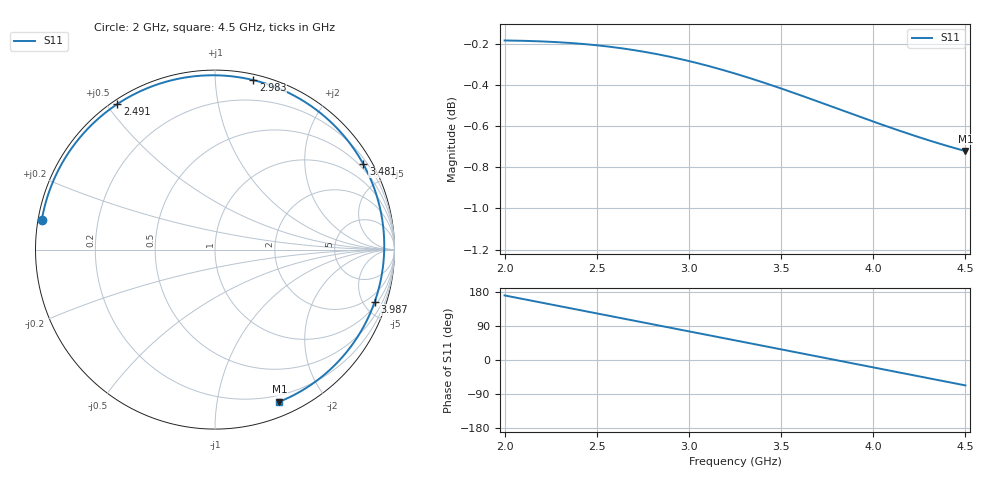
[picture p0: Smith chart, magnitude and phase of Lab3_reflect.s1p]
! Touchstone file from project Lab 3
! Exported from Circuit Design 2017.1.0
! Variables:
!  $thru = 40mm
!  thru = 22mm
!  width = 3.01746mm
!Data is not renormalized
# GHZ S MA
! Modal data exported
! Port[1] = n1
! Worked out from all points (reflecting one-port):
!   2501 points, 2 GHz to 4.5 GHz, reference per port
!   lowest |S11| = -0.7 dB at 4.5 GHz (marker M1), VSWR 24.11
!   phase of S11 starts at 170 deg and turns -237 deg over the sweep
!   S11 on the Smith chart (normalised r, x): 2 GHz: 0.01, +0.08; 2.491 GHz: 0.02, +0.53; 2.983 GHz: 0.04, +1.25; 3.481 GHz: 0.35, +3.71; 3.987 GHz: 1.27, -6.00; 4.5 GHz: 0.14, -1.50
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2  0.9791 170.4
! Port Impedance50 0
2.073  0.979 163.5
2.152  0.9788 156.0
2.231  0.9785 148.5
2.313  0.978 140.8
2.404  0.9774 132.2
2.491  0.9766 123.9
2.625  0.975 111.2
2.704  0.9738 103.7
2.782  0.9725 96.3
2.86  0.971 88.9
2.938  0.9693 81.5
2.983  0.9683 77.2
3.114  0.965 64.8
3.25  0.9611 51.9
3.368  0.9575 40.7
3.481  0.9538 29.9
3.563  0.951 22.1
3.641  0.9483 14.7
3.719  0.9455 7.3
3.797  0.9428 -0.1
3.875  0.94 -7.5
3.987  0.9361 -18.2
4.086  0.9327 -27.6
4.188  0.9294 -37.3
4.351  0.9244 -52.8
4.432  0.9221 -60.6
4.5  0.9203 -67.1
